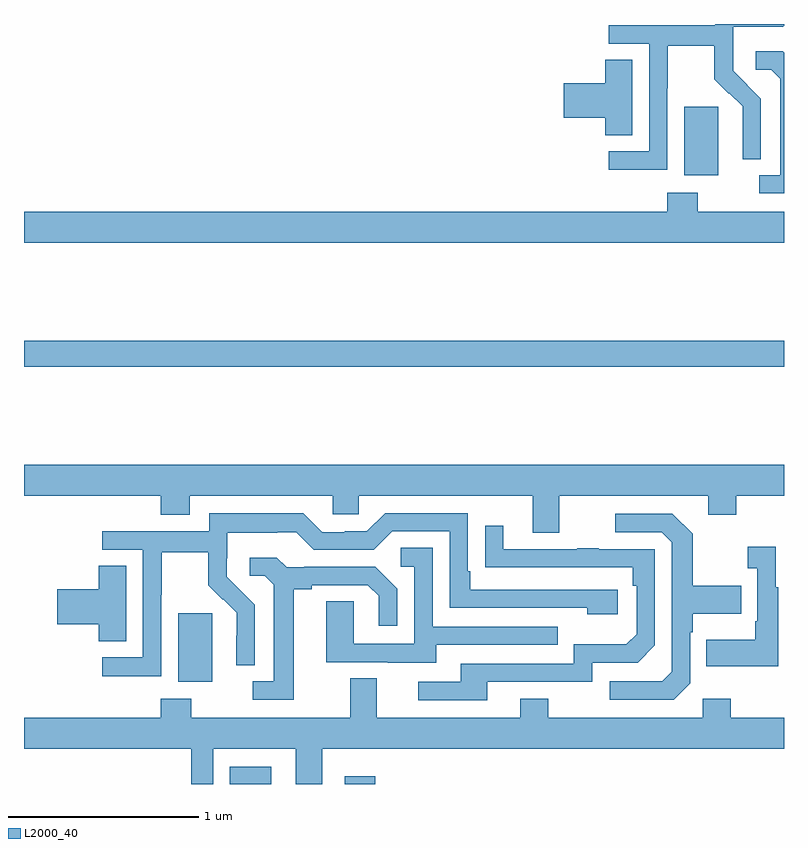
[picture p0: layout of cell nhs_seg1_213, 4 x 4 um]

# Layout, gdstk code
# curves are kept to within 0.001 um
import gdstk
lib = gdstk.Library(unit=1e-6, precision=1e-09)
def R(c, l, rs):  # rectangles x0, y0, x1, y1
    for r in rs: c.add(gdstk.rectangle(r[:2], r[2:], *l))
def P(c, l, *ps):  # polygons
    for p in ps: c.add(gdstk.Polygon(p, *l))
L2000_40 = (2000, 40)

nhs_seg1_213 = lib.new_cell('nhs_seg1_213')
R(nhs_seg1_213, L2000_40, [(122.084,566.199,122.302,566.29), (122.687,566.199,122.848,566.239), (121.811,566.738,121.99,567.099), (121,568.396,125,568.532), (124.475,569.402,124.654,569.763)])
P(nhs_seg1_213, L2000_40, [(124.386,569.86),(124.389,569.86),(124.389,570.084),(124.633,570.084),(124.633,569.909),(124.71,569.832),(124.713,569.835),(124.784,569.765),(124.784,569.642),(124.782,569.642),(124.782,569.488),(124.878,569.488),(124.878,569.806),(124.732,569.954),(124.732,570.051),(124.734,570.051),(124.734,570.185),(124.997,570.185),(124.997,570.189),(125,570.189),(125,570.199),(124.638,570.199),(124.638,570.192),(124.077,570.192),(124.077,570.096),(124.29,570.096),(124.29,569.529),(124.077,569.529),(124.077,569.431),(124.386,569.431)],
  [(125,570.049),(124.994,570.055),(124.851,570.055),(124.851,569.958),(124.932,569.958),(124.979,569.911),(124.979,569.403),(124.869,569.403),(124.869,569.307),(125,569.307)],
  [(124.201,570.011),(124.058,570.011),(124.058,569.888),(123.84,569.888),(123.84,569.705),(124.058,569.705),(124.058,569.614),(124.201,569.614)],
  [(125,569.212),(124.545,569.212),(124.545,569.311),(124.385,569.311),(124.385,569.212),(121,569.212),(121,569.048),(125,569.048)],
  [(123.817,567.716),(124.601,567.716),(124.601,567.617),(124.749,567.617),(124.749,567.716),(125,567.716),(125,567.88),(121,567.88),(121,567.716),(121.721,567.716),(121.721,567.617),(121.873,567.617),(121.873,567.716),(122.625,567.716),(122.625,567.618),(122.763,567.618),(122.763,567.716),(123.677,567.716),(123.677,567.522),(123.817,567.522)],
  [(121.722,567.196),(121.725,567.196),(121.725,567.42),(121.969,567.42),(121.969,567.245),(122.046,567.168),(122.049,567.171),(122.12,567.101),(122.12,566.978),(122.118,566.978),(122.118,566.824),(122.214,566.824),(122.214,567.142),(122.068,567.29),(122.068,567.387),(122.07,567.387),(122.07,567.521),(122.333,567.521),(122.333,567.525),(122.433,567.525),(122.526,567.432),(122.841,567.432),(122.937,567.528),(123.24,567.528),(123.24,567.126),(123.965,567.126),(123.965,567.092),(124.126,567.092),(124.126,567.222),(123.349,567.222),(123.349,567.319),(123.336,567.319),(123.336,567.624),(122.901,567.624),(122.805,567.528),(122.687,567.528),(122.687,567.525),(122.571,567.525),(122.471,567.625),(121.974,567.625),(121.974,567.528),(121.413,567.528),(121.413,567.432),(121.626,567.432),(121.626,566.865),(121.413,566.865),(121.413,566.767),(121.722,566.767)],
  [(124.506,566.73),(124.506,566.999),(124.519,566.999),(124.519,567.095),(124.775,567.095),(124.775,567.243),(124.519,567.243),(124.519,567.515),(124.413,567.621),(124.113,567.621),(124.113,567.525),(124.356,567.525),(124.41,567.471),(124.41,566.79),(124.359,566.739),(124.083,566.739),(124.083,566.643),(124.419,566.643)],
  [(123.439,566.736),(123.99,566.736),(123.99,566.838),(124.23,566.838),(124.32,566.928),(124.32,567.435),(124.025,567.435),(124.025,567.44),(123.913,567.44),(123.913,567.435),(123.523,567.435),(123.523,567.559),(123.427,567.559),(123.427,567.34),(124.204,567.339),(124.204,567.242),(124.224,567.242),(124.224,566.988),(124.171,566.935),(123.894,566.935),(123.894,566.832),(123.299,566.832),(123.299,566.736),(123.075,566.736),(123.075,566.64),(123.439,566.64)],
  [(124.969,567.235),(124.957,567.235),(124.957,567.448),(124.809,567.448),(124.809,567.335),(124.86,567.335),(124.86,567.055),(124.848,567.055),(124.848,566.959),(124.591,566.959),(124.591,566.819),(124.969,566.819)],
  [(123.169,566.931),(123.809,566.931),(123.809,567.027),(123.15,567.027),(123.15,567.443),(122.982,567.443),(122.982,567.342),(123.054,567.342),(123.054,566.937),(122.736,566.937),(122.736,567.161),(122.591,567.161),(122.591,566.841),(122.915,566.841),(122.915,566.837),(123.169,566.837)],
  [(122.419,567.224),(122.515,567.224),(122.515,567.246),(122.81,567.246),(122.867,567.189),(122.867,567.033),(122.964,567.033),(122.964,567.226),(122.848,567.342),(122.476,567.342),(122.476,567.339),(122.382,567.339),(122.33,567.391),(122.187,567.391),(122.187,567.294),(122.268,567.294),(122.315,567.247),(122.315,566.739),(122.205,566.739),(122.205,566.643),(122.419,566.643)],
  [(121.537,567.347),(121.394,567.347),(121.394,567.224),(121.176,567.224),(121.176,567.041),(121.394,567.041),(121.394,566.95),(121.537,566.95)],
  [(121.995,566.384),(122.429,566.384),(122.429,566.199),(122.569,566.199),(122.569,566.384),(125,566.384),(125,566.548),(124.719,566.548),(124.719,566.647),(124.572,566.647),(124.572,566.548),(123.759,566.548),(123.759,566.647),(123.611,566.647),(123.611,566.548),(122.857,566.548),(122.857,566.756),(122.717,566.756),(122.717,566.548),(121.881,566.548),(121.881,566.647),(121.721,566.647),(121.721,566.548),(121,566.548),(121,566.384),(121.879,566.384),(121.879,566.199),(121.995,566.199)])

lib.write_gds('nhs_seg1_213.gds')
